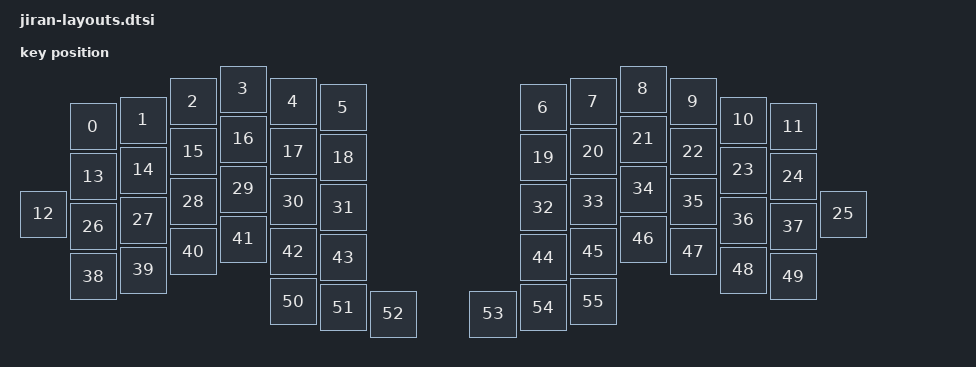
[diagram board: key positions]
#include <layouts/kgoh/jian/6column.dtsi>
#include <layouts/kgoh/jian/full.dtsi>
#include <physical_layouts.dtsi>

&layouts_kgoh_jian_position_map {
    ladniy_jiran_full_posmap: full_jiran {
        physical-layout = <&ladniy_jiran_full_layout>;
        positions
            = <    0  1  2  3  4  5        6  7  8  9 10 11   >
            , <12 13 14 15 16 17 18       19 20 21 22 23 24 25>
            , <   26 27 28 29 30 31       32 33 34 35 36 37   >
            , <   38 39 40 41 42 43       44 45 46 47 48 49   >
            , <               50 51 52 53 54 55               >;
    };
};

&kgoh_jian_full_posmap {
    positions
        = <   44 45 46 47 48 49       50 51 52 53 54 55   >
        , < 0  1  2  3  4  5  6        7  8  9 10 11 12 13>
        , <   14 15 16 17 18 19       20 21 22 23 24 25   >
        , <   26 27 28 29 30 31       32 33 34 35 36 37   >
        , <               38 39 40 41 42 43               >;
};

&kgoh_jian_6col_posmap {
    positions
        = <   42 43 44 45 46 47       48 49 50 51 52 53   >
        , <54  0  1  2  3  4  5        6  7  8  9 10 11 55>
        , <   12 13 14 15 16 17       18 19 20 21 22 23   >
        , <   24 25 26 27 28 29       30 31 32 33 34 35   >
        , <               36 37 38 39 40 41               >;
};

&kgoh_jian_full_layout {
    display-name = "Jian (with pinky)";
};

/ {
    ladniy_jiran_full_layout: ladniy_jiran_full_layout {
        compatible = "zmk,physical-layout";
        display-name = "Full (with pinky/numbers)";

        keys  //                     w   h    x    y     rot    rx    ry
            = <&key_physical_attrs 100 100  100   75       0     0     0>
            , <&key_physical_attrs 100 100  200   62       0     0     0>
            , <&key_physical_attrs 100 100  300   25       0     0     0>
            , <&key_physical_attrs 100 100  400    0       0     0     0>
            , <&key_physical_attrs 100 100  500   25       0     0     0>
            , <&key_physical_attrs 100 100  600   37       0     0     0>
            , <&key_physical_attrs 100 100 1000   37       0     0     0>
            , <&key_physical_attrs 100 100 1100   25       0     0     0>
            , <&key_physical_attrs 100 100 1200    0       0     0     0>
            , <&key_physical_attrs 100 100 1300   25       0     0     0>
            , <&key_physical_attrs 100 100 1400   62       0     0     0>
            , <&key_physical_attrs 100 100 1500   75       0     0     0>
            , <&key_physical_attrs 100 100    0  250       0     0     0>
            , <&key_physical_attrs 100 100  100  175       0     0     0>
            , <&key_physical_attrs 100 100  200  162       0     0     0>
            , <&key_physical_attrs 100 100  300  125       0     0     0>
            , <&key_physical_attrs 100 100  400  100       0     0     0>
            , <&key_physical_attrs 100 100  500  125       0     0     0>
            , <&key_physical_attrs 100 100  600  137       0     0     0>
            , <&key_physical_attrs 100 100 1000  137       0     0     0>
            , <&key_physical_attrs 100 100 1100  125       0     0     0>
            , <&key_physical_attrs 100 100 1200  100       0     0     0>
            , <&key_physical_attrs 100 100 1300  125       0     0     0>
            , <&key_physical_attrs 100 100 1400  162       0     0     0>
            , <&key_physical_attrs 100 100 1500  175       0     0     0>
            , <&key_physical_attrs 100 100 1600  250       0     0     0>
            , <&key_physical_attrs 100 100  100  275       0     0     0>
            , <&key_physical_attrs 100 100  200  262       0     0     0>
            , <&key_physical_attrs 100 100  300  225       0     0     0>
            , <&key_physical_attrs 100 100  400  200       0     0     0>
            , <&key_physical_attrs 100 100  500  225       0     0     0>
            , <&key_physical_attrs 100 100  600  237       0     0     0>
            , <&key_physical_attrs 100 100 1000  237       0     0     0>
            , <&key_physical_attrs 100 100 1100  225       0     0     0>
            , <&key_physical_attrs 100 100 1200  200       0     0     0>
            , <&key_physical_attrs 100 100 1300  225       0     0     0>
            , <&key_physical_attrs 100 100 1400  262       0     0     0>
            , <&key_physical_attrs 100 100 1500  275       0     0     0>
            , <&key_physical_attrs 100 100  100  375       0     0     0>
            , <&key_physical_attrs 100 100  200  362       0     0     0>
            , <&key_physical_attrs 100 100  300  325       0     0     0>
            , <&key_physical_attrs 100 100  400  300       0     0     0>
            , <&key_physical_attrs 100 100  500  325       0     0     0>
            , <&key_physical_attrs 100 100  600  337       0     0     0>
            , <&key_physical_attrs 100 100 1000  337       0     0     0>
            , <&key_physical_attrs 100 100 1100  325       0     0     0>
            , <&key_physical_attrs 100 100 1200  300       0     0     0>
            , <&key_physical_attrs 100 100 1300  325       0     0     0>
            , <&key_physical_attrs 100 100 1400  362       0     0     0>
            , <&key_physical_attrs 100 100 1500  375       0     0     0>
            , <&key_physical_attrs 100 100  500  425       0     0     0>
            , <&key_physical_attrs 100 100  600  437       0     0     0>
            , <&key_physical_attrs 100 100  700  450       0     0     0>
            , <&key_physical_attrs 100 100  900  450       0     0     0>
            , <&key_physical_attrs 100 100 1000  437       0     0     0>
            , <&key_physical_attrs 100 100 1100  425       0     0     0>
        ;
    };
};
